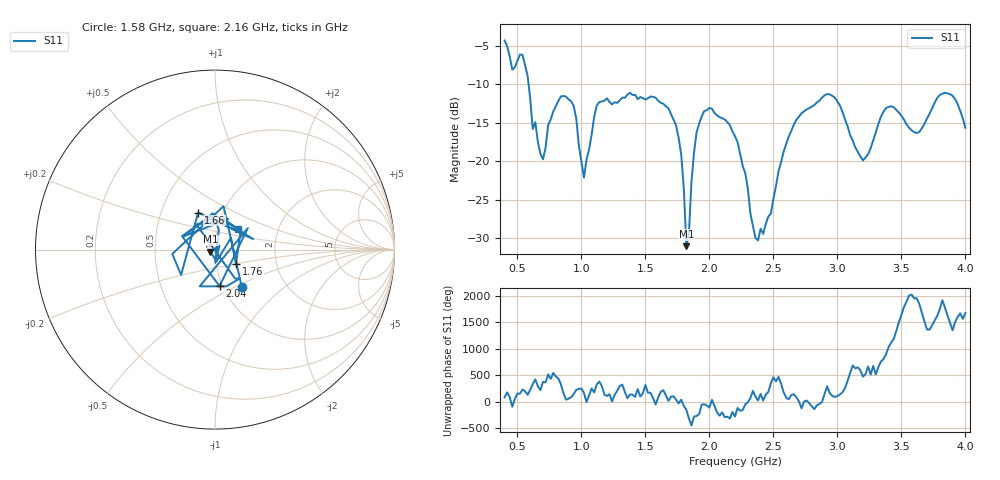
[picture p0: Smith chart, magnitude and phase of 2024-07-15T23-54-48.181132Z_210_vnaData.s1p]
!Created with skrf (http://scikit-rf.org).
# Hz S RI R 50.0
!freq ReS11 ImS11
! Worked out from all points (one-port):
!   181 points, 400 MHz to 4 GHz, reference 50 ohm
!   lowest |S11| = -31.1 dB at 1.82 GHz (marker M1), VSWR 1.06, Z = 47.5 - j1.17 ohm
!   |S11| at or under -10 dB: 587.2 MHz to end of sweep
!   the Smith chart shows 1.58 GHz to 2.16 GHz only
!   S11 on the Smith chart (normalised r, x): 1.58 GHz: 1.22, -0.55; 1.66 GHz: 0.77, +0.33; 1.76 GHz: 1.25, -0.20; 2.04 GHz: 0.97, -0.41; 2.16 GHz: 1.25, +0.30
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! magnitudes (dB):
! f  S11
! 400 MHz  -4.3
! 460 MHz  -8.1
! 540 MHz  -6.2
! 620 MHz  -15.8
! 700 MHz  -19.8
! 860 MHz  -11.5
! 940 MHz  -12.9
! 1.02 GHz  -22.1
! 1.12 GHz  -12.8
! 1.3 GHz  -12.1
! 1.58 GHz  -11.8
! 1.66 GHz  -12.9
! 1.76 GHz  -17.0
! 1.8 GHz  -23.6
! 1.82 GHz  -31.1
! 1.9 GHz  -16.2
! 2.04 GHz  -13.8
! 2.16 GHz  -15.3
! 2.2 GHz  -16.8
! 2.38 GHz  -30.3
! 2.66 GHz  -15.2
! 2.94 GHz  -11.3
! 3.1 GHz  -16.6
! 3.2 GHz  -19.9
! 3.38 GHz  -13.1
! 3.56 GHz  -15.7
! 3.84 GHz  -11.1
! 4 GHz  -15.7
